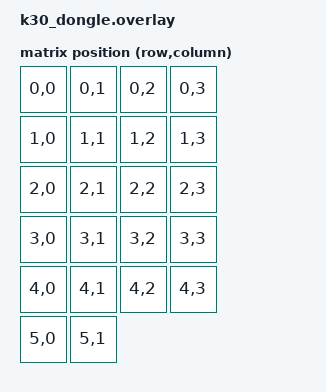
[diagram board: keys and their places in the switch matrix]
/*
 * Copyright (c) 2020 The ZMK Contributors
 * SPDX-License-Identifier: MIT
 */

#include <dt-bindings/zmk/matrix_transform.h>

/ {
	chosen {
		zmk,kscan = &mock_kscan;
		zmk,matrix_transform = &default_transform;
		zephyr,display = &oled;
		zephyr,console = &cdc_acm_uart;
		zephyr,shell-uart = &cdc_acm_uart;
	};

	mock_kscan: mock_kscan_0 {
		compatible = "zmk,kscan-mock";
		columns = <4>;
		rows = <6>;
		events = <22>;
	};

	default_transform: keymap_transform_0 {
		compatible = "zmk,matrix-transform";
		columns = <4>;
		rows = <6>;
		map = <
		RC(0,0) RC(0,1) RC(0,2) RC(0,3)
		RC(1,0) RC(1,1) RC(1,2) RC(1,3)
		RC(2,0) RC(2,1) RC(2,2) RC(2,3)
		RC(3,0) RC(3,1) RC(3,2) RC(3,3)
		RC(4,0) RC(4,1) RC(4,2) RC(4,3)
		RC(5,0) RC(5,1)
		>;
	};
};

&i2c0 {
	status = "okay";
	clock-frequency = <I2C_BITRATE_STANDARD>;

	oled: ssd1306@3c {
		compatible = "solomon,ssd1306fb";
		reg = <0x3c>;
		/*
		 * 实机标定：面板可见像素是 64x16。之前按 128x32 驱动时，
		 * GDRAM 在 X/Y 两个方向折叠，导致文字左右叠影、上下重叠。
		 */
		width = <64>;
		height = <16>;
		segment-offset = <0>;
		page-offset = <0>;
		display-offset = <0>;
		multiplex-ratio = <15>;
		com-invdir;
		com-sequential;
		prechargep = <0x22>;
	};
};

&usbd {
	status = "okay";
	#address-cells = <1>;
	#size-cells = <0>;

	cdc_acm_uart: cdc-acm-uart@0 {
		compatible = "zephyr,cdc-acm-uart";
		reg = <0>;
	};
};
